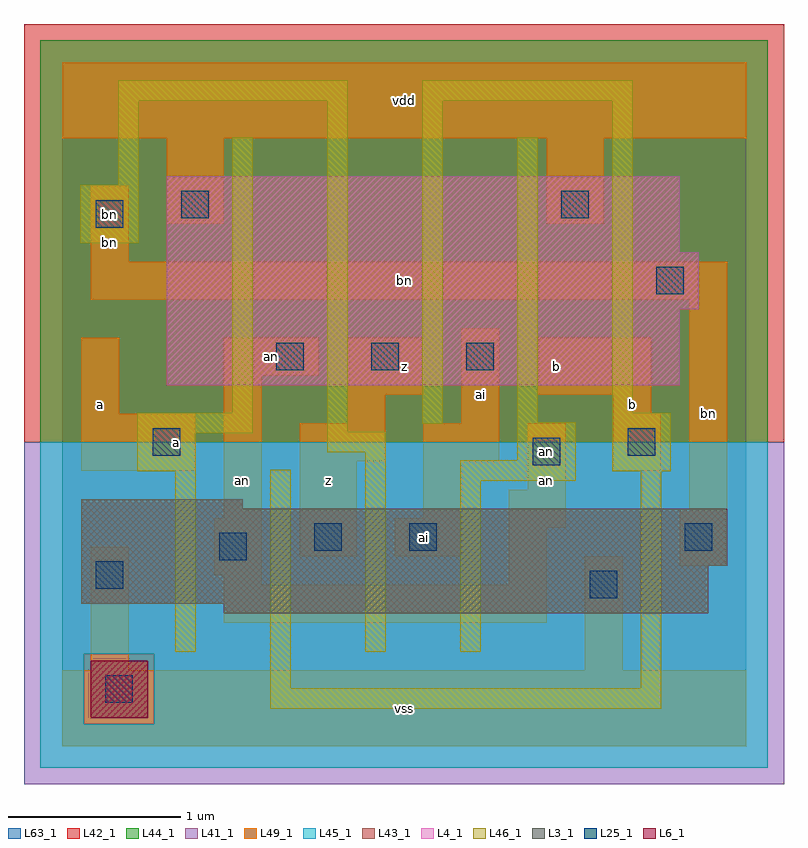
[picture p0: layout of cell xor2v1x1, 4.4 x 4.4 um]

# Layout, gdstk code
import gdstk
lib = gdstk.Library(unit=1e-6, precision=1e-09)
def R(c, l, rs):  # rectangles x0, y0, x1, y1
    for r in rs: c.add(gdstk.rectangle(r[:2], r[2:], *l))
def A(c, l, x, y, w, h, nx, ny, dx, dy):  # array of equal rectangles
    R(c, l, [(x+i*dx, y+j*dy, x+i*dx+w, y+j*dy+h) for i in range(nx) for j in range(ny)])
L3_1 = (3, 1)
L4_1 = (4, 1)
L6_1 = (6, 1)
L25_1 = (25, 1)
L41_1 = (41, 1)
L42_1 = (42, 1)
L43_1 = (43, 1)
L44_1 = (44, 1)
L45_1 = (45, 1)
L46_1 = (46, 1)
L49_1 = (49, 1)
L63_1 = (63, 1)

xor2v1x1 = lib.new_cell('xor2v1x1')
R(xor2v1x1, L3_1, [(0.935,0.77,3.74,0.825), (0.11,0.825,3.74,1.045), (0.11,1.045,3.85,1.375), (0.11,1.375,1.045,1.43)])
R(xor2v1x1, L4_1, [(0.605,2.09,3.575,2.53), (0.605,2.53,3.685,2.86), (0.605,2.86,3.575,3.3)])
R(xor2v1x1, L6_1, [(0.165,0.165,0.495,0.495)])
A(xor2v1x1, L25_1, 1.24, 2.175, 0.16, 0.16, 3, 1, 0.55, 0)
R(xor2v1x1, L25_1, [(0.25,0.25,0.41,0.41), (3.055,0.855,3.215,1.015), (0.195,0.91,0.355,1.07), (0.91,1.075,1.07,1.235), (1.46,1.13,1.62,1.29), (2.01,1.13,2.17,1.29), (3.605,1.13,3.765,1.29), (2.725,1.625,2.885,1.785), (0.525,1.68,0.685,1.84), (3.275,1.68,3.435,1.84), (3.44,2.615,3.6,2.775), (0.195,3,0.355,3.16), (0.69,3.055,0.85,3.215), (2.89,3.055,3.05,3.215)])
R(xor2v1x1, L41_1, [(-0.22,-0.22,4.18,1.76)])
R(xor2v1x1, L42_1, [(-0.22,1.76,4.18,4.18)])
R(xor2v1x1, L43_1, [(0.165,0.165,0.495,0.495), (0.935,0.77,3.74,0.825), (0.11,0.825,3.74,1.045), (0.11,1.045,3.85,1.375), (0.11,1.375,1.045,1.43), (0.605,2.09,3.575,2.53), (0.605,2.53,3.685,2.86), (0.605,2.86,3.575,3.3)])
R(xor2v1x1, L44_1, [(0.125,0.125,0.535,0.535), (-0.125,1.76,4.085,4.085)])
R(xor2v1x1, L45_1, [(-0.125,-0.125,4.085,0.125), (-0.125,0.125,0.125,0.535), (0.535,0.125,4.085,0.535), (-0.125,0.535,4.085,1.76)])
R(xor2v1x1, L46_1, [(1.205,0.215,3.47,0.335), (1.205,0.335,1.325,1.6), (3.35,0.335,3.47,1.59), (0.655,0.545,0.775,1.59), (1.755,0.545,1.875,1.7), (2.305,0.545,2.425,1.535), (2.305,1.535,2.975,1.655), (0.435,1.59,0.775,1.81), (3.185,1.59,3.525,1.93), (2.635,1.655,2.975,1.875), (1.535,1.7,1.875,1.82), (0.435,1.81,1.105,1.93), (1.535,1.82,1.655,3.735), (2.085,1.865,2.205,3.735), (2.635,1.875,2.755,3.525), (0.985,1.93,1.105,3.525), (3.185,1.93,3.305,3.735), (0.105,2.91,0.445,3.25), (0.325,3.25,0.445,3.735), (0.325,3.735,1.655,3.855), (2.085,3.735,3.305,3.855)])
R(xor2v1x1, L49_1, [(0,0,3.96,0.44), (0.165,0.44,0.385,1.155), (3.025,0.44,3.245,1.1), (0.935,0.715,2.805,0.935), (0.935,0.935,1.155,0.99), (2.585,0.935,2.805,1.265), (0.88,0.99,1.155,1.32), (3.575,1.045,3.85,1.375), (1.375,1.1,1.705,1.65), (1.925,1.1,2.31,1.32), (2.585,1.265,2.915,1.485), (0.935,1.32,1.155,2.145), (2.09,1.32,2.31,1.65), (3.63,1.375,3.85,2.585), (2.695,1.485,2.915,1.87), (0.11,1.595,0.77,1.925), (3.19,1.595,3.465,1.925), (1.375,1.65,1.87,1.87), (2.09,1.65,2.53,1.87), (1.65,1.87,1.87,2.035), (2.31,1.87,2.53,2.42), (0.11,1.925,0.33,2.365), (3.19,1.925,3.41,2.035), (1.65,2.035,2.09,2.365), (2.75,2.035,3.41,2.365), (0.935,2.145,1.485,2.365), (0.165,2.585,3.85,2.805), (0.165,2.805,0.385,3.245), (0.605,3.025,0.935,3.52), (2.805,3.025,3.135,3.52), (0,3.52,3.96,3.96)])
R(xor2v1x1, L63_1, [(0,0,3.96,3.96)])
xor2v1x1.add(gdstk.Label('bn', (0.275,3.08), layer=49, texttype=1))
xor2v1x1.add(gdstk.Label('an', (2.805,1.705), layer=49, texttype=1))
xor2v1x1.add(gdstk.Label('a', (0.66,1.76), layer=49, texttype=1))
xor2v1x1.add(gdstk.Label('a', (0.22,1.98), layer=49, texttype=1))
xor2v1x1.add(gdstk.Label('bn', (0.275,2.915), layer=49, texttype=1))
xor2v1x1.add(gdstk.Label('z', (1.54,1.54), layer=49, texttype=1))
xor2v1x1.add(gdstk.Label('an', (1.045,1.54), layer=49, texttype=1))
xor2v1x1.add(gdstk.Label('an', (1.21,2.255), layer=49, texttype=1))
xor2v1x1.add(gdstk.Label('vss', (1.98,0.22), layer=49, texttype=1))
xor2v1x1.add(gdstk.Label('ai', (2.09,1.21), layer=49, texttype=1))
xor2v1x1.add(gdstk.Label('an', (2.805,1.54), layer=49, texttype=1))
xor2v1x1.add(gdstk.Label('b', (2.86,2.2), layer=49, texttype=1))
xor2v1x1.add(gdstk.Label('ai', (2.42,2.035), layer=49, texttype=1))
xor2v1x1.add(gdstk.Label('z', (1.98,2.2), layer=49, texttype=1))
xor2v1x1.add(gdstk.Label('vdd', (1.98,3.74), layer=49, texttype=1))
xor2v1x1.add(gdstk.Label('b', (3.3,1.98), layer=49, texttype=1))
xor2v1x1.add(gdstk.Label('bn', (3.74,1.925), layer=49, texttype=1))
xor2v1x1.add(gdstk.Label('bn', (1.98,2.695), layer=49, texttype=1))

lib.write_gds('xor2v1x1.gds')
